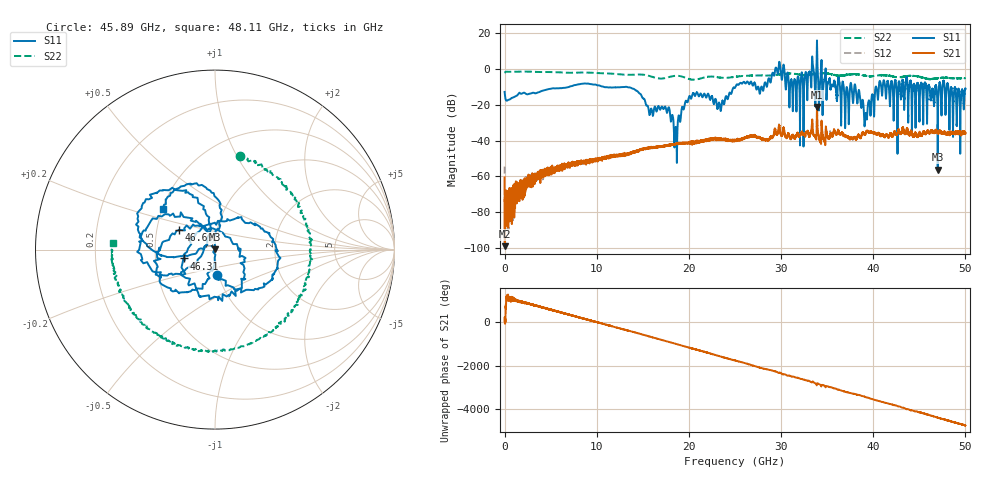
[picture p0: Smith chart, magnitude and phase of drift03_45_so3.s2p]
!Created with skrf (http://scikit-rf.org).
# Hz S RI R 50.0
!freq ReS11 ImS11 ReS21 ImS21 ReS12 ImS12 ReS22 ImS22
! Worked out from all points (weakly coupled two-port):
!   10001 points, 300 kHz to 50 GHz, reference 50 ohm
!   highest |S21| = -21.13 dB at 33.9 GHz (marker M1); lowest = -99.0 dB at 20.3 MHz (marker M2)
!   lowest |S11| = -56.2 dB at 47 GHz (marker M3), VSWR 1.00, Z = 49.9 + j0.14 ohm
!   |S11| at or under -10 dB: start of sweep to 6.941 GHz; 13.32 GHz to 25.04 GHz (11.73 GHz wide, 61.1 % of centre); 38.08 GHz to 40.26 GHz (2.182 GHz wide, 5.57 % of centre) (the widest 3 of 54)
!   |S22| runs from -5.9 to -1.3 dB; largest |S21 - S12| = 0.0076
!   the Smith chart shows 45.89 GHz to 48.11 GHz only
!   S11 on the Smith chart (normalised r, x): 45.89 GHz: 0.98, -0.28; 46.31 GHz: 0.70, -0.07; 46.69 GHz: 0.65, +0.15; 48.11 GHz: 0.50, +0.26
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300000  -0.21 -0.0976  0.000318 0.000886  0.00161 0.00101  -0.7615 -0.1915
2.029988e7  -0.2009 0.0384  6.89e-06 8.89e-06  -5.26e-05 0.000122  -0.7997 0.00163
1.530291e9  0.2029 0.0458  0.000148 -0.000355  -3.51e-05 -0.00043  0.8487 0.0861
3.160281e9  -0.2187 -0.00833  4.73e-05 0.000783  0.000141 0.000761  -0.8444 -0.0254
4.665272e9  0.2635 0.0614  -0.000159 -0.00135  -2.51e-06 -0.00148  0.8187 0.1429
6.360262e9  -0.2999 0.00066  0.000545 0.00182  0.000569 0.00173  -0.8041 -0.0439
8.33525e9  0.284 -0.2673  -0.00229 -0.000861  -0.00253 -0.000935  0.6026 -0.5351
9.590242e9  -0.3716 -0.037  0.00165 0.00198  0.00135 0.00241  -0.7872 -0.073
1.123523e10  0.3057 0.0297  -0.00216 -0.00261  -0.00247 -0.00255  0.7566 0.0361
1.66702e10  0.0539 0.0758  0.00482 -0.00489  0.00455 -0.00495  -0.3605 0.4178
2.500015e10  -0.2975 -0.0491  0.0077 0.00658  0.00723 0.00667  -0.1836 -0.5847
3.051512e10  0.2391 -0.1234  -0.00234 0.0128  -0.002 0.013  0.7433 -0.0652
3.213011e10  0.2022 0.3712  -9.53e-05 -0.0146  -0.000712 -0.0154  -0.6902 0.00697
3.33351e10  0.444 -1.004  -0.00556 0.0249  -0.0063 0.0249  0.6127 0.3679
3.38951e10  -0.8383 -6.299  0.0873 0.00947  0.0825 0.00407  0.675 -0.3181
4.167005e10  -0.2198 0.2847  -0.0116 -0.00488  -0.0113 -0.00495  -0.6595 -0.0536
4.588502e10  0.00957 -0.1391  0.0102 0.0149  0.00953 0.0156  0.1387 0.5233
4.630502e10  -0.1755 -0.0494  0.0197 0.00127  0.0181 0.000677  0.4932 0.176
4.669002e10  -0.1985 0.1095  0.013 -0.0137  0.011 -0.0125  0.4682 -0.2657
4.700002e10  -0.000638 0.0014  0.00121 -0.0159  0.000731 -0.0171  0.2179 -0.5142
4.811001e10  -0.2897 0.2262  -0.0129 0.0102  -0.0121 0.00992  -0.5698 0.0358
5e10  -0.1458 -0.2464  0.00136 -0.0159  0.000797 -0.0161  0.4719 -0.3129
